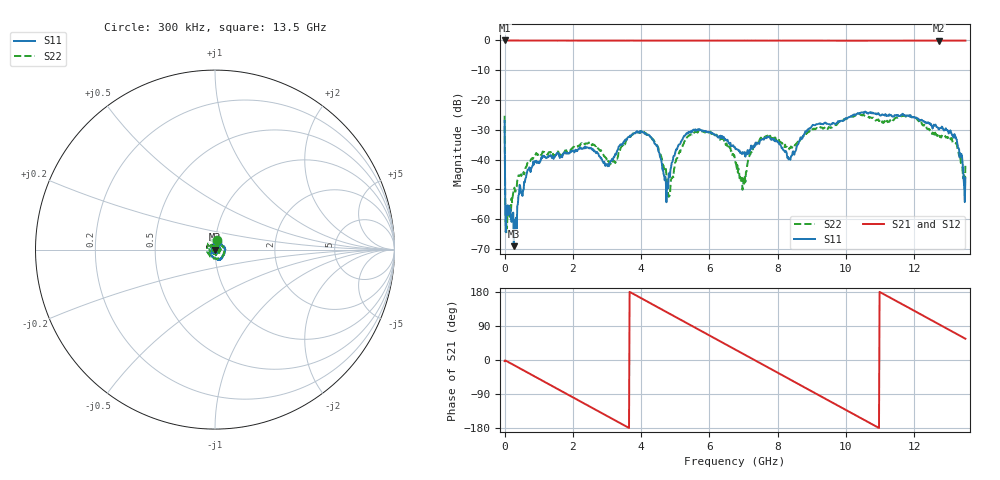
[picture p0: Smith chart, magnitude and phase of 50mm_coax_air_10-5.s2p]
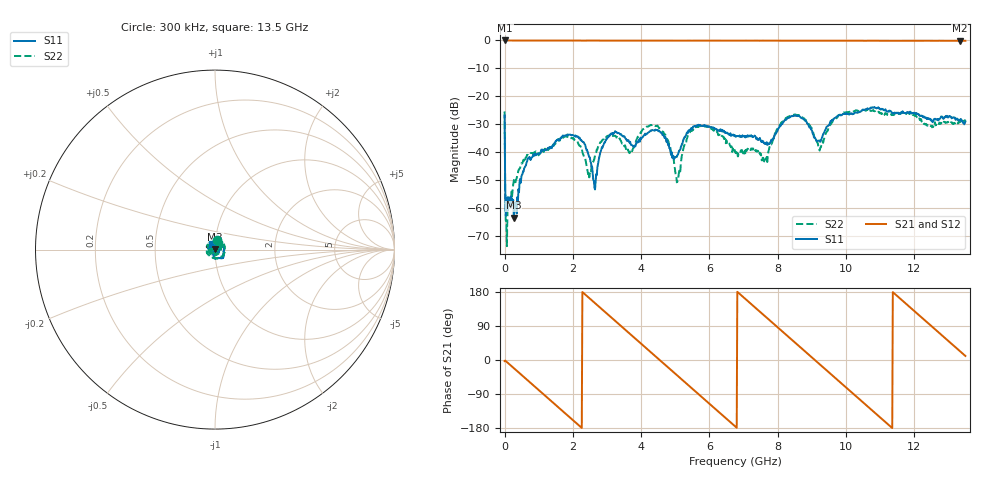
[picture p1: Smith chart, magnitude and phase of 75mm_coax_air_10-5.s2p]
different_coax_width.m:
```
%different_coax_widths
eps0=8.85418782e-12; % F/m
mu0=1.2566370614e-6; % H/m
c0=1/sqrt(eps0*mu0);
eta0=sqrt(mu0/eps0); % free space
material_width = 1.78e-3;
device_length = 41e-3;
l = (device_length - material_width)/2;
t = material_width;
%%
filelength = 209;
connectorFile = '50mm_coax_10-6.s2p';
[c11,c21,c12,c22,c_frequency] = s2pToComplexSParam(connectorFile,filelength);
ck0 = 2*pi*c_frequency/c0;
%fudgeFactor = (unwrap(angle(c11)) - unwrap(angle(c22)))/2;
%c11 = c11.*exp(-1i*fudgeFactor);
%c22 = c22.*exp(1i*fudgeFactor);

filelength = 809;
shortFile = '50mm_coax_air_10-5.s2p';
[s11,s21,s12,s22,s_frequency] = s2pToComplexSParam(shortFile,filelength);
sk0 = 2*pi*s_frequency/c0;
fudgeFactor = (unwrap(angle(s11)) - unwrap(angle(s22)))/2;
s11 = s11.*exp(-1i*fudgeFactor);
s22 = s22.*exp(1i*fudgeFactor);

longFile = '75mm_coax_air_10-5.s2p';
[l11,l21,l12,l22,l_frequency] = s2pToComplexSParam(longFile,filelength);
lk0 = 2*pi*l_frequency/c0;
fudgeFactor = (unwrap(angle(l11)) - unwrap(angle(l22)))/2;
l11 = l11.*exp(-1i*fudgeFactor);
l22 = l22.*exp(1i*fudgeFactor);

figure;
subplot(221)
%yyaxis left
plot(c_frequency/1e9,unwrap(angle(c11))./ck0, s_frequency/1e9,unwrap(angle(s11))./sk0, l_frequency/1e9,unwrap(angle(l11))./lk0)
ylabel('distance(m)')
%yyaxis right
%plot(c_frequency/1e9,unwrap(angle(s11)),s_frequency, unwrap(angle(t11)))
%ylim([-0.1 0.15])
xlabel('Frequency')
%ylabel('Offset \pi')
%legend('measured', 'theory','Location','northeast','Orientation','horizontal')
title('Agilent S11 Phase')
%xlim([1 10])
grid on
subplot(222)
%yyaxis left
plot(c_frequency/1e9,unwrap(angle(c21))./ck0,s_frequency/1e9, unwrap(angle(s21))./sk0,l_frequency/1e9,unwrap(angle(l21))./lk0)
ylabel('distance(m)')
%yyaxis right
%plot(m_frequency(2:end)/1e9,diff(unwrap(angle(s21))),frequency(2:end), diff(unwrap(angle(t21))))
%ylim([-0.08 0.08])
xlabel('Frequency')
%ylabel('Offset \pi')
xlabel('Frequency')
%legend('measured', 'theory','Location','northeast','Orientation','horizontal')
title('Agilent S21 Phase')
%xlim([1 10])
grid on
subplot(223)
plot(c_frequency/1e9,abs(c11),s_frequency/1e9, abs(s11),l_frequency/1e9,abs(l11))
xlabel('Frequency')
ylabel('Magnitude')
%legend('measured', 'theory','Location','northeast','Orientation','horizontal')
title('S11 Magnitude')
%xlim([1 10])
grid on
subplot(224)
plot(c_frequency/1e9,abs(c21),s_frequency/1e9, abs(s21),l_frequency/1e9,abs(l21))
xlabel('Frequency')
ylabel('Magnitude')
legend('straight', '50mm', '75mm','Location','northeast','Orientation','horizontal')
title('S21 Magnitude')
%xlim([1 10])
grid on
```
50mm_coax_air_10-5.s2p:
!Agilent Technologies,N5230C,MY48100320,A.08.04.10
!Agilent N5230C: A.08.04.10
!Date: Wednesday, October 05, 2016 20:58:38
!Correction: S11(Full 2 Port(1,2))
!S21(Full 2 Port(1,2))
!S12(Full 2 Port(1,2))
!S22(Full 2 Port(1,2))
!S2P File: Measurements: S11, S21, S12, S22:
# Hz S  dB  R 50
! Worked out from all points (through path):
!   801 points, 300 kHz to 13.5 GHz, reference 50 ohm
!   highest |S21| = 0.01 dB at 17.17 MHz (marker M1); lowest = -0.1 dB at 12.72 GHz (marker M2)
!   group delay of S21, straight-line fit = 137 ps
!   lowest |S11| = -69.1 dB at 270.3 MHz (marker M3), VSWR 1.00, Z = 50 + j0.0292 ohm
!   |S11| at or under -10 dB: start of sweep to end of sweep
!   |S22| runs from -64.4 to -24.9 dB; largest |S21 - S12| = 0.0042
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300000  -26.93 77.9  -0.06 -2.8  -0.07 -2.8  -25.29 77.1
1.717462e7  -53.16 116.6  0.01 -1.0  0.01 -1.0  -52.06 88.5
2.70294e8  -69.11 56.4  -0.01 -13.4  -0.01 -13.4  -50.46 28.2
1.907133e9  -37.85 -22.5  -0.04 -93.9  -0.04 -93.9  -36.89 30.4
3.645219e9  -32.46 33.7  -0.04 -179.4  -0.04 -179.4  -32.51 151.3
5.282058e9  -31.99 105.3  -0.05 100.1  -0.05 100.1  -33.74 -73.0
6.75015e9  -35.80 -75.2  -0.02 28.0  -0.05 28.0  -40.22 -71.6
9.264469e9  -28.00 -139.5  -0.04 -95.7  -0.05 -95.7  -29.21 141.8
1.100256e10  -25.21 -42.4  -0.06 178.9  -0.06 179.0  -27.43 -130.7
1.272377e10  -29.89 74.5  -0.08 94.3  -0.07 94.5  -32.30 -60.2
1.35e10  -46.15 -140.5  -0.04 56.1  -0.06 56.2  -42.09 105.4
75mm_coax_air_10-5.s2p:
!Agilent Technologies,N5230C,MY48100320,A.08.04.10
!Agilent N5230C: A.08.04.10
!Date: Wednesday, October 05, 2016 21:01:40
!Correction: S11(Full 2 Port(1,2))
!S21(Full 2 Port(1,2))
!S12(Full 2 Port(1,2))
!S22(Full 2 Port(1,2))
!S2P File: Measurements: S11, S21, S12, S22:
# Hz S  dB  R 50
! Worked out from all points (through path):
!   801 points, 300 kHz to 13.5 GHz, reference 50 ohm
!   highest |S21| = 0.01 dB at 17.17 MHz (marker M1); lowest = -0.1 dB at 13.33 GHz (marker M2)
!   group delay of S21, straight-line fit = 220 ps
!   lowest |S11| = -63.5 dB at 270.3 MHz (marker M3), VSWR 1.00, Z = 50 + j0.0668 ohm
!   |S11| at or under -10 dB: start of sweep to end of sweep
!   |S22| runs from -73.7 to -24.7 dB; largest |S21 - S12| = 0.0056
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300000  -26.93 78.8  -0.06 -2.8  -0.07 -2.8  -25.41 77.5
1.717462e7  -52.98 124.9  0.01 -1.5  0.01 -1.5  -52.55 94.6
2.70294e8  -63.51 88.8  -0.01 -21.5  -0.01 -21.5  -50.26 13.3
2.109628e9  -34.40 -132.4  -0.04 -167.2  -0.04 -167.2  -35.98 -25.8
3.35835e9  -33.30 -97.0  -0.04 93.8  -0.04 93.9  -35.21 107.8
4.539574e9  -32.59 17.5  -0.05 0.3  -0.05 0.3  -31.45 168.4
6.75015e9  -33.95 -120.5  -0.04 -174.8  -0.06 -174.7  -39.88 -47.9
9.078848e9  -34.73 174.0  -0.07 0.7  -0.06 0.8  -34.65 22.0
1.150879e10  -25.93 -7.2  -0.09 168.3  -0.09 168.4  -26.41 165.1
1.333125e10  -28.41 117.1  -0.12 24.0  -0.10 24.1  -29.22 96.0
1.35e10  -29.08 123.1  -0.10 10.7  -0.12 10.8  -28.36 58.3
